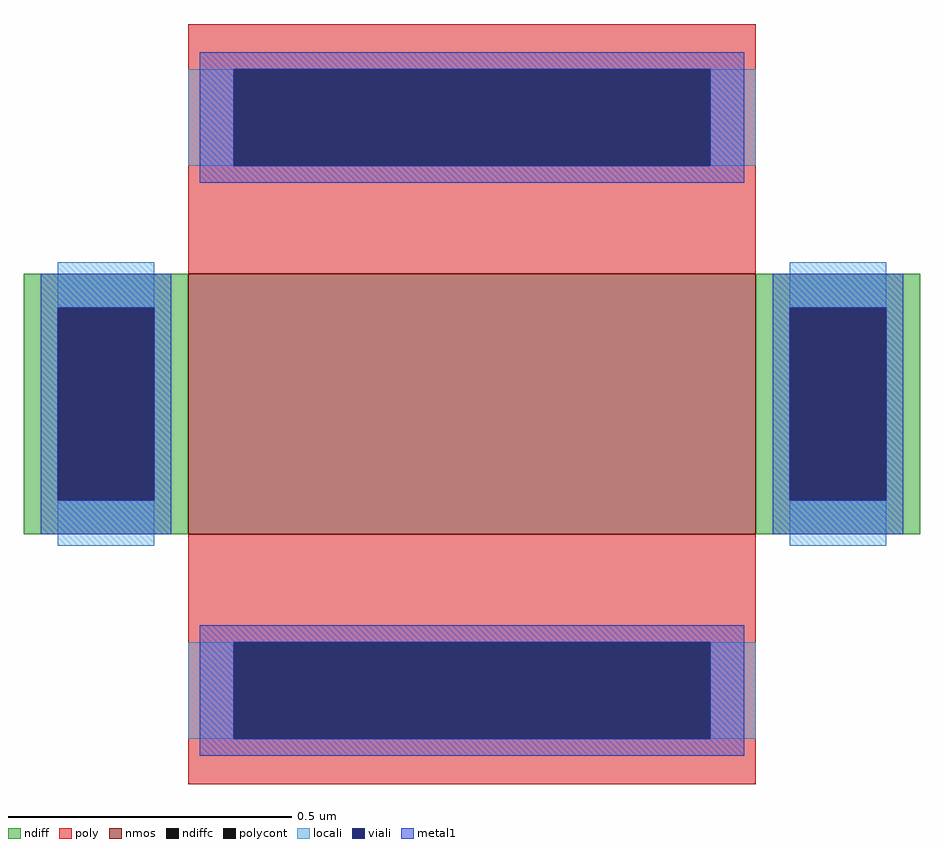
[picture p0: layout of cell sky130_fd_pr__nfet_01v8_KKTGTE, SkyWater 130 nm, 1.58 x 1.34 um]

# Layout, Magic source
magic
tech sky130A
<< nmos >>
rect -50 -23 50 23
<< ndiff >>
rect -79 17 -50 23
rect -79 -17 -73 17
rect -56 -17 -50 17
rect -79 -23 -50 -17
rect 50 17 79 23
rect 50 -17 56 17
rect 73 -17 79 17
rect 50 -23 79 -17
<< ndiffc >>
rect -73 -17 -56 17
rect 56 -17 73 17
<< poly >>
rect -50 59 50 67
rect -50 42 -42 59
rect 42 42 50 59
rect -50 23 50 42
rect -50 -42 50 -23
rect -50 -59 -42 -42
rect 42 -59 50 -42
rect -50 -67 50 -59
<< polycont >>
rect -42 42 42 59
rect -42 -59 42 -42
<< locali >>
rect -50 42 -42 59
rect 42 42 50 59
rect -73 17 -56 25
rect -73 -25 -56 -17
rect 56 17 73 25
rect 56 -25 73 -17
rect -50 -59 -42 -42
rect 42 -59 50 -42
<< viali >>
rect -42 42 42 59
rect -73 -17 -56 17
rect 56 -17 73 17
rect -42 -59 42 -42
<< metal1 >>
rect -48 59 48 62
rect -48 42 -42 59
rect 42 42 48 59
rect -48 39 48 42
rect -76 17 -53 23
rect -76 -17 -73 17
rect -56 -17 -53 17
rect -76 -23 -53 -17
rect 53 17 76 23
rect 53 -17 56 17
rect 73 -17 76 17
rect 53 -23 76 -17
rect -48 -42 48 -39
rect -48 -59 -42 -42
rect 42 -59 48 -42
rect -48 -62 48 -59
<< properties >>
string gencell sky130_fd_pr__nfet_01v8
string library sky130
string parameters w 0.463 l 1.000 m 1 nf 1 diffcov 100 polycov 100 guard 0 glc 1 grc 1 gtc 1 gbc 1 tbcov 100 rlcov 100 topc 1 botc 1 poverlap 0 doverlap 1 lmin 0.15 wmin 0.42 compatible {sky130_fd_pr__nfet_01v8 sky130_fd_pr__nfet_01v8_lvt  sky130_fd_bs_flash__special_sonosfet_star  sky130_fd_pr__nfet_g5v0d10v5 sky130_fd_pr__nfet_05v0_nvt  sky130_fd_pr__nfet_03v3_nvt} full_metal 1 viasrc 100 viadrn 100 viagate 100 viagb 0 viagr 0 viagl 0 viagt 0
<< end >>
